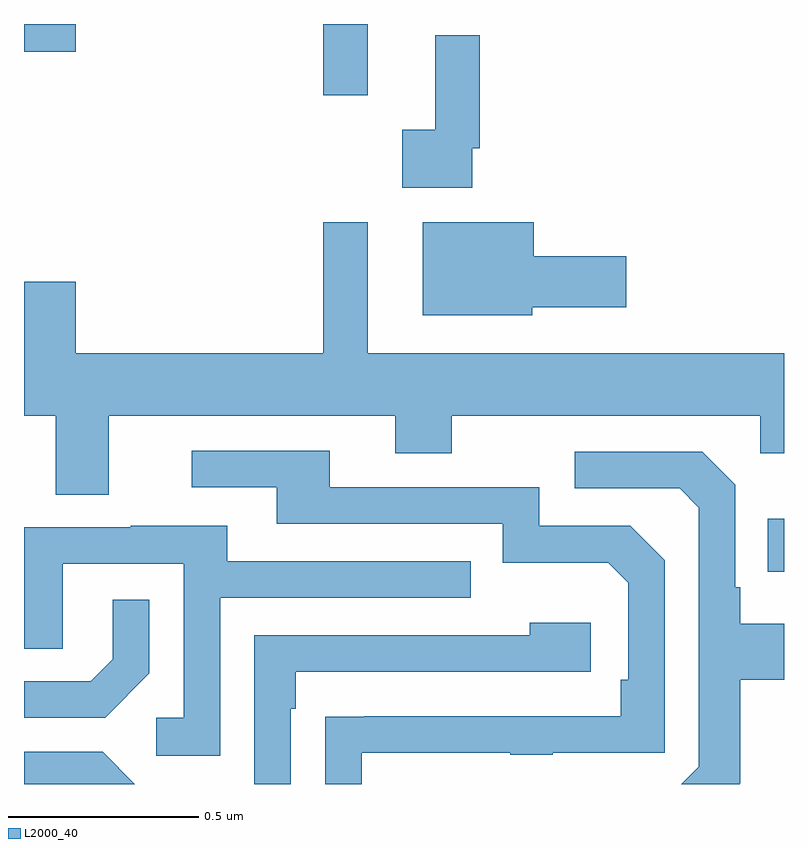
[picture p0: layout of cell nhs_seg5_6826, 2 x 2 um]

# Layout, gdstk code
import gdstk
lib = gdstk.Library(unit=1e-6, precision=1e-09)
def R(c, l, rs):  # rectangles x0, y0, x1, y1
    for r in rs: c.add(gdstk.rectangle(r[:2], r[2:], *l))
def P(c, l, *ps):  # polygons
    for p in ps: c.add(gdstk.Polygon(p, *l))
L2000_40 = (2000, 40)

nhs_seg5_6826 = lib.new_cell('nhs_seg5_6826')
R(nhs_seg5_6826, L2000_40, [(202.957,848.357,203,848.497), (201.787,849.612,201.905,849.799), (201,849.726,201.136,849.799)])
P(nhs_seg5_6826, L2000_40, [(202.179,849.472),(202.199,849.472),(202.199,849.769),(202.082,849.769),(202.082,849.521),(201.996,849.521),(201.996,849.368),(202.179,849.368)],
  [(202.338,849.053),(202.585,849.053),(202.585,849.188),(202.342,849.188),(202.342,849.277),(202.049,849.277),(202.049,849.032),(202.338,849.032)],
  [(201.223,848.768),(201.977,848.768),(201.977,848.669),(202.125,848.669),(202.125,848.768),(202.938,848.768),(202.938,848.669),(203,848.669),(203,848.932),(201.904,848.932),(201.904,849.277),(201.787,849.277),(201.787,848.932),(201.136,848.932),(201.136,849.121),(201,849.121),(201,848.768),(201.083,848.768),(201.083,848.56),(201.223,848.56)],
  [(201.889,847.881),(202.279,847.881),(202.279,847.876),(202.391,847.876),(202.391,847.881),(202.686,847.881),(202.686,848.388),(202.596,848.478),(202.356,848.478),(202.356,848.58),(201.805,848.58),(201.805,848.676),(201.441,848.676),(201.441,848.58),(201.665,848.58),(201.665,848.484),(202.26,848.484),(202.26,848.381),(202.537,848.381),(202.59,848.328),(202.59,848.074),(202.57,848.074),(202.57,847.977),(201.895,847.977),(201.895,847.976),(201.793,847.976),(201.793,847.799),(201.889,847.799)],
  [(202.885,847.801),(202.885,848.074),(203,848.074),(203,848.221),(202.885,848.221),(202.885,848.317),(202.872,848.317),(202.872,848.586),(202.785,848.673),(202.449,848.673),(202.449,848.577),(202.725,848.577),(202.776,848.526),(202.776,847.845),(202.73,847.799),(202.883,847.799)],
  [(201.516,848.289),(202.175,848.289),(202.175,848.385),(201.535,848.385),(201.535,848.479),(201.281,848.479),(201.281,848.475),(201,848.475),(201,848.155),(201.102,848.155),(201.102,848.379),(201.42,848.379),(201.42,847.974),(201.348,847.974),(201.348,847.873),(201.516,847.873)],
  [(201.33,848.09),(201.33,848.284),(201.233,848.284),(201.233,848.127),(201.176,848.07),(201,848.07),(201,847.974),(201.214,847.974)],
  [(201.702,847.997),(201.715,847.997),(201.715,848.094),(202.492,848.094),(202.492,848.224),(202.331,848.224),(202.331,848.19),(201.606,848.19),(201.606,847.799),(201.702,847.799)],
  [(201.207,847.884),(201,847.884),(201,847.799),(201.292,847.799)])

lib.write_gds('nhs_seg5_6826.gds')
